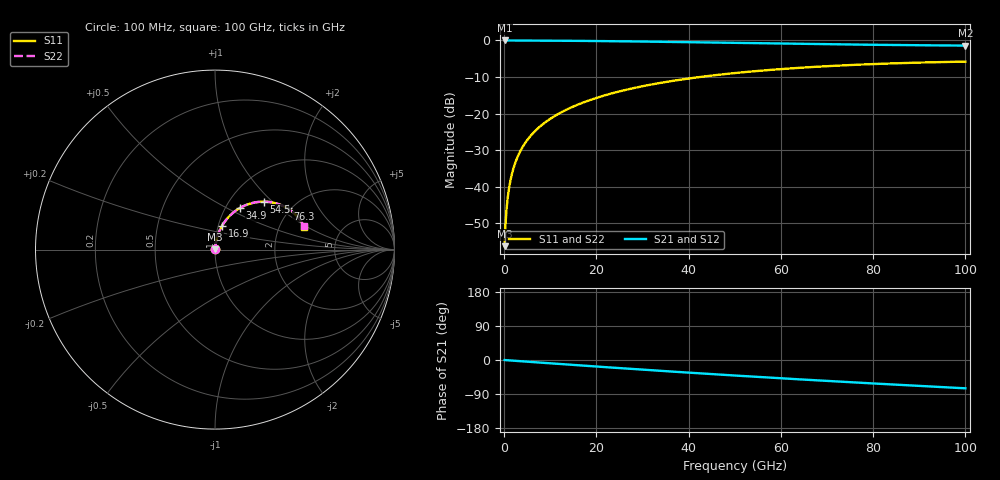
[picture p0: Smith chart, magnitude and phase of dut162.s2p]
! Touchstone file exported from HFSS 2026.1.0
!  File:  C:/ffzhzh/LocalFiles/Ansys_Project_Files/temp_train_RDL_162_1783500086_44152.aedt
!  Generated:  04:42:31 PM Jul  8, 2026
!  Design:  RDL
!  Project:  temp_train_RDL_162_1783500086_44152
! Variables:
!  h_bsmrdl = 2um
!  h_ox = 20um
!  h_rdl = 5um
!  h_sub = 80um
!  h_tmrdl = 3.94um
!  h_tsv = 80um
!  h_via = 3um
!  l_bsmrdl = 300um
!  l_sub = 626.71um
!  l_tmrdl = 226.71um
!  m_sub = 200um
!  pitch = 42.34um
!  r_tsv = 6um
!  s_tmrdl = 10um
!  w_bsmrdl = 18um
!  w_sub = 500um
!  w_tmrdl = 20.05um
!  x_tsv_center1 = 236.735um
!  x_tsv_center2 = 554.735um
!  x_tsv_center3 = 801.495um
!  x_tsv_center4 = 1119.495um
!  x_tsv_center5 = 1366.255um
!  x_tsv_center6 = 1684.255um
# GHz S MA R 50.000000
! Terminal data exported
! Port[1] = TM_RDL1_1_T1
! Port[2] = TM_RDL1_1_T2
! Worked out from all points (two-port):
!   1000 points, 100 MHz to 100 GHz, reference 50 ohm
!   highest |S21| = -0.01 dB at 100 MHz (marker M1); lowest = -1.4 dB at 100 GHz (marker M2)
!   |S21| within 3 dB of the highest: start of sweep to end of sweep
!   lowest |S11| = -56.2 dB at 100 MHz (marker M3), VSWR 1.00, Z = 50.1 + j0.0967 ohm
!   |S11| at or under -10 dB: start of sweep to 42.46 GHz
!   |S22| runs from -56.2 to -5.8 dB; largest |S21 - S12| = 1.1e-14
!   S11 on the Smith chart (normalised r, x): 100 MHz: 1.00, +0.00; 16.9 GHz: 1.04, +0.29; 34.9 GHz: 1.16, +0.58; 54.5 GHz: 1.42, +0.89; 76.3 GHz: 1.92, +1.13; 100 GHz: 2.73, +0.95
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0.1  0.001541 38.8  0.9988 -0.1  0.9988 -0.1  0.001541 38.8
! Gamma 0 0 0 0
! Port Impedance 50 0 50 0
0.3  0.003094 64.5  0.9987 -0.3  0.9987 -0.3  0.003094 64.5
0.9  0.008156 78.6  0.9985 -0.8  0.9985 -0.8  0.008155 78.6
1.2  0.01074 80.7  0.9984 -1.1  0.9984 -1.1  0.01074 80.7
1.5  0.01333 81.8  0.9983 -1.3  0.9983 -1.3  0.01333 81.8
2  0.01767 82.8  0.9982 -1.8  0.9982 -1.8  0.01767 82.8
2.5  0.022 83.1  0.998 -2.2  0.998 -2.2  0.022 83.1
4  0.0349 82.9  0.9972 -3.5  0.9972 -3.5  0.0349 82.9
6.1  0.05267 81.6  0.9959 -5.4  0.9959 -5.4  0.05267 81.6
8.9  0.07587 79.5  0.9936 -7.8  0.9936 -7.8  0.07587 79.6
12.4  0.1043 76.9  0.9903 -10.8  0.9903 -10.8  0.1043 76.9
16.8  0.1391 73.4  0.9853 -14.5  0.9853 -14.5  0.1391 73.4
16.9  0.1399 73.3  0.9852 -14.6  0.9852 -14.6  0.1399 73.4
24.3  0.1959 67.5  0.9747 -20.8  0.9747 -20.8  0.1959 67.5
33.4  0.2595 60.3  0.959 -28.2  0.959 -28.2  0.2595 60.4
34.9  0.2694 59.2  0.9562 -29.4  0.9562 -29.4  0.2694 59.2
50.1  0.3585 47.8  0.9259 -41.0  0.9259 -41.0  0.3585 47.8
54.5  0.3805 44.6  0.917 -44.3  0.917 -44.3  0.3805 44.7
66.7  0.4326 36.0  0.8935 -52.9  0.8935 -52.9  0.4326 36.2
76.3  0.4647 29.6  0.8773 -59.4  0.8773 -59.4  0.4647 29.7
83.4  0.4836 25.0  0.8671 -64.1  0.8671 -64.1  0.4836 25.1
100  0.513 14.5  0.85 -74.7  0.85 -74.7  0.513 14.7
